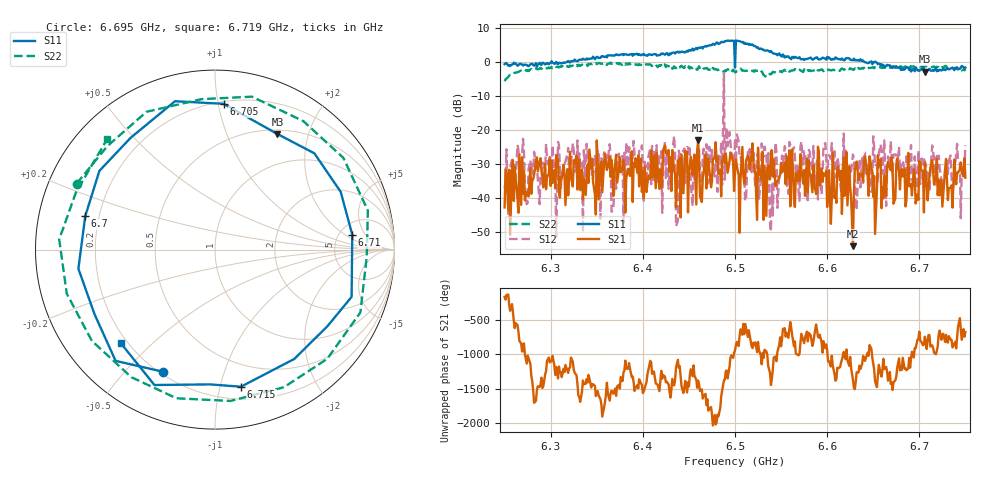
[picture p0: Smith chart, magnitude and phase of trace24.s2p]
# Hz S RI R 50
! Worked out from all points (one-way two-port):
!   401 points, 6.25 GHz to 6.75 GHz, reference 50 ohm
!   highest |S21| = -22.98 dB at 6.46 GHz (marker M1); lowest = -54.1 dB at 6.628 GHz (marker M2)
!   lowest |S11| = -2.7 dB at 6.706 GHz (marker M3), VSWR 6.46, Z = 27.6 + j76.6 ohm
!   |S11| at or under -10 dB: nowhere
!   |S22| runs from -5.5 to -0.1 dB; largest |S21 - S12| = 0.74
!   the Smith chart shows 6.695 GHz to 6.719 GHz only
!   S11 on the Smith chart (normalised r, x): 6.695 GHz: 0.21, -0.64; 6.7 GHz: 0.15, +0.12; 6.705 GHz: 0.22, +1.04; 6.71 GHz: 6.58, +2.65; 6.715 GHz: 0.30, -1.16; 6.719 GHz: 0.17, -0.40
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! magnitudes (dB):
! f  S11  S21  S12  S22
! 6.25 GHz  -0.5  -42.7  -37.0  -5.5
! 6.334 GHz  0.8  -31.5  -29.6  -0.7
! 6.418 GHz  2.1  -37.3  -27.5  -0.8
! 6.46 GHz  4.2  -23.0  -26.8  -1.7
! 6.5 GHz  -1.5  -32.2  -22.4  -2.9
! 6.51 GHz  5.5  -35.8  -33.5  -2.5
! 6.531 GHz  3.7  -46.4  -27.9  -3.7
! 6.54 GHz  2.9  -25.8  -36.0  -3.2
! 6.542 GHz  2.6  -28.7  -35.5  -2.9
! 6.561 GHz  0.9  -31.5  -25.6  -2.4
! 6.568 GHz  1.2  -34.9  -30.6  -2.2
! 6.584 GHz  0.8  -38.3  -31.8  -2.5
! 6.628 GHz  0.6  -54.1  -27.1  -2.1
! 6.668 GHz  -0.9  -31.2  -30.5  -1.5
! 6.695 GHz  -2.6  -32.9  -27.7  -1.4
! 6.7 GHz  -2.5  -29.0  -29.9  -1.1
! 6.705 GHz  -1.8  -44.2  -28.5  -1.4
! 6.706 GHz  -2.7  -29.5  -29.1  -1.1
! 6.71 GHz  -2.3  -36.7  -32.6  -1.4
! 6.715 GHz  -2.2  -32.0  -26.4  -1.3
! 6.719 GHz  -2.6  -28.3  -27.5  -1.3
! 6.75 GHz  -1.6  -33.9  -24.4  -2.0
